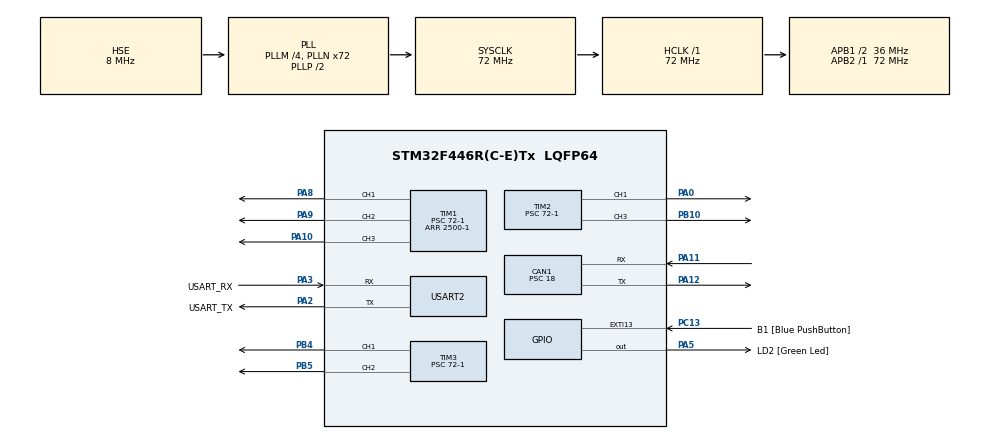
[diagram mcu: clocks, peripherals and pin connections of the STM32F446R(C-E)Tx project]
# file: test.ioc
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CAN1.BS1=CAN_BS1_2TQ
CAN1.CalculateBaudRate=500000
CAN1.CalculateTimeBit=2000
CAN1.CalculateTimeQuantum=500.0
CAN1.Prescaler=18
Mcu.Family=STM32F4
Mcu.Name=STM32F446R(C-E)Tx
Mcu.Package=LQFP64
NVIC.CAN1_RX0_IRQn=true\:0\:0\:false\:false\:true\:true\:true\:true
NVIC.PriorityGroup=NVIC_PRIORITYGROUP_0
PA0-WKUP.Signal=S_TIM2_CH1_ETR
PA10.Signal=S_TIM1_CH3
PA11.Mode=CAN_Activate
PA11.Signal=CAN1_RX
PA12.Mode=CAN_Activate
PA12.Signal=CAN1_TX
PA13.GPIO_Label=TMS
PA13.Mode=Serial_Wire
PA13.Signal=SYS_JTMS-SWDIO
PA14.GPIO_Label=TCK
PA14.Mode=Serial_Wire
PA14.Signal=SYS_JTCK-SWCLK
PA2.GPIO_Label=USART_TX
PA2.Mode=Asynchronous
PA2.Signal=USART2_TX
PA3.GPIO_Label=USART_RX
PA3.Mode=Asynchronous
PA3.Signal=USART2_RX
PA5.GPIO_Label=LD2 [Green Led]
PA5.Signal=GPIO_Output
PA8.Signal=S_TIM1_CH1
PA9.Signal=S_TIM1_CH2
PB10.Signal=S_TIM2_CH3
PB3.GPIO_Label=SWO
PB3.Signal=SYS_JTDO-SWO
PB4.Signal=S_TIM3_CH1
PB5.Signal=S_TIM3_CH2
PC13.GPIO_Label=B1 [Blue PushButton]
PC13.GPIO_ModeDefaultEXTI=GPIO_MODE_IT_FALLING
PC13.Signal=GPXTI13
PC14-OSC32_IN.Mode=LSE-External-Oscillator
PC14-OSC32_IN.Signal=RCC_OSC32_IN
PC15-OSC32_OUT.Mode=LSE-External-Oscillator
PC15-OSC32_OUT.Signal=RCC_OSC32_OUT
PH0-OSC_IN.Mode=HSE-External-Oscillator
PH0-OSC_IN.Signal=RCC_OSC_IN
PH1-OSC_OUT.Mode=HSE-External-Oscillator
PH1-OSC_OUT.Signal=RCC_OSC_OUT
ProjectManager.HeapSize=0x200
ProjectManager.StackSize=0x400
ProjectManager.TargetToolchain=STM32CubeIDE
RCC.48MHZClocksFreq_Value=84000000
RCC.AHBFreq_Value=72000000
RCC.APB1CLKDivider=RCC_HCLK_DIV2
RCC.APB1Freq_Value=36000000
RCC.APB1TimFreq_Value=72000000
RCC.APB2Freq_Value=72000000
RCC.APB2TimFreq_Value=72000000
RCC.CortexFreq_Value=72000000
RCC.FLatency-AdvancedSettings=FLASH_LATENCY_2
RCC.HCLKFreq_Value=72000000
RCC.HSE_VALUE=8000000
RCC.HSI_VALUE=16000000
RCC.PLLM=4
RCC.PLLN=72
RCC.PLLSourceVirtual=RCC_PLLSOURCE_HSE
RCC.SYSCLKFreq_VALUE=72000000
RCC.SYSCLKSource=RCC_SYSCLKSOURCE_PLLCLK
RCC.USBFreq_Value=72000000
RCC.VCOOutputFreq_Value=144000000
SH.S_TIM1_CH1.0=TIM1_CH1,PWM Generation1 CH1
SH.S_TIM1_CH2.0=TIM1_CH2,PWM Generation2 CH2
SH.S_TIM1_CH3.0=TIM1_CH3,PWM Generation3 CH3
SH.S_TIM2_CH1_ETR.0=TIM2_CH1,PWM Generation1 CH1
SH.S_TIM2_CH3.0=TIM2_CH3,PWM Generation3 CH3
SH.S_TIM3_CH1.0=TIM3_CH1,PWM Generation1 CH1
SH.S_TIM3_CH2.0=TIM3_CH2,PWM Generation2 CH2
TIM1.Channel-PWM\ Generation1\ CH1=TIM_CHANNEL_1
TIM1.Channel-PWM\ Generation2\ CH2=TIM_CHANNEL_2
TIM1.Channel-PWM\ Generation3\ CH3=TIM_CHANNEL_3
TIM1.Period=2500-1
TIM1.Prescaler=72-1
TIM2.Channel-PWM\ Generation1\ CH1=TIM_CHANNEL_1
TIM2.Channel-PWM\ Generation3\ CH3=TIM_CHANNEL_3
TIM2.Period=2500-1
TIM2.Prescaler=72-1
TIM3.Channel-PWM\ Generation1\ CH1=TIM_CHANNEL_1
TIM3.Channel-PWM\ Generation2\ CH2=TIM_CHANNEL_2
TIM3.Period=2500-1
TIM3.Prescaler=72-1
USART2.VirtualMode=VM_ASYNC
VP_TIM1_VS_ClockSourceINT.Mode=Internal
VP_TIM2_VS_ClockSourceINT.Mode=Internal
VP_TIM3_VS_ClockSourceINT.Mode=Internal
board=NUCLEO-F446RE

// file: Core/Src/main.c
/* USER CODE BEGIN Header */
/**
  ******************************************************************************
  * @file           : main.c
  * @brief          : Main program body
  ******************************************************************************
  * @attention
  *
  * Copyright (c) 2024 STMicroelectronics.
  * All rights reserved.
  *
  * This software is licensed under terms that can be found in the LICENSE file
  * in the root directory of this software component.
  * If no LICENSE file comes with this software, it is provided AS-IS.
  *
  ******************************************************************************
  */
/* USER CODE END Header */
#include "main.h"

/* USER CODE BEGIN Includes */
int exponent(int i){
	int d = 1;
	for(int j = 3; j >= (i-5) * 2; j--){
		d *= 16;
	}
	return d;
}
int CAN_MESSAGE_CONVERSION(uint8_t RxData[8]){
	 int d;
	 int x = 0;
	 for(int i = 7; i >= 5; i--){
		 d = exponent(i);
		 x += RxData[i] * d;
	  }
	 return x;
}
/* USER CODE END Includes */

CAN_HandleTypeDef hcan1;

TIM_HandleTypeDef htim1;
TIM_HandleTypeDef htim2;
TIM_HandleTypeDef htim3;

UART_HandleTypeDef huart2;

void SystemClock_Config(void);
static void MX_GPIO_Init(void);
static void MX_USART2_UART_Init(void);
static void MX_TIM1_Init(void);
static void MX_CAN1_Init(void);
static void MX_TIM2_Init(void);
static void MX_TIM3_Init(void);

/* USER CODE BEGIN 0 */
CAN_TxHeaderTypeDef TxHeader;
CAN_RxHeaderTypeDef RxHeader;
uint8_t TxData[8];
uint8_t RxData[8];
uint32_t TxMailbox;

int datacheck = 0;

void HAL_GPIO_EXTI_Callback(uint16_t GPIO_Pin)
{
	if (GPIO_Pin == GPIO_PIN_13){
		TxData[0] = 100;
		TxData[1] = 10;

		HAL_CAN_AddTxMessage(&hcan1, &TxHeader, TxData, &TxMailbox);
	}
}

void HAL_CAN_RxFifo0MsgPendingCallback(CAN_HandleTypeDef *hcan)
{
	HAL_CAN_GetRxMessage(hcan, CAN_RX_FIFO0, &RxHeader, RxData);
//	if(RxHeader.ExtId == 23){
//		datacheck = 1;
//	}
	datacheck = 1;
}
/* USER CODE END 0 */

int main(void)
{

  /* USER CODE BEGIN 1 */
	  MX_GPIO_Init();
	  MX_USART2_UART_Init();
	  MX_CAN1_Init();
	  MX_TIM2_Init();
	  MX_TIM1_Init();
	  MX_TIM3_Init();
	  /* USER CODE BEGIN 2 */
	//  uint32_t pwmData[9];
	//  pwmData[0] = 10;
	//  pwmData[1] = 20;
	//  pwmData[2] = 30;
	//  pwmData[3] = 40;
	//  pwmData[4] = 50;
	//  pwmData[5] = 60;
	//  pwmData[6] = 70;
	//  pwmData[7] = 80;
	//  pwmData[8] = 90;
	//  pwmData[9] = 100;
	//
	//  HAL_TIM_PWM_Start_DMA(&htim1, TIM_CHANNEL_1, pwmData, 10);

	  // can messages
	  HAL_CAN_Start(&hcan1);

	  HAL_CAN_ActivateNotification(&hcan1, CAN_IT_RX_FIFO0_MSG_PENDING);

	  TxHeader.DLC = 8;
	  TxHeader.IDE = CAN_ID_EXT;
	  TxHeader.RTR = CAN_RTR_DATA;
	  TxHeader.ExtId = 17;

	  TIM3->ARR = 2000;
	  TIM1->CCR1 = 0;
	  TIM1->CCR2 = 0;
	  TIM2->CCR1 = 0;
	  TIM2->CCR3 = 0;
	  TIM3->CCR1 = 1500;
	  TIM3->CCR2 = 0;
	  HAL_TIM_PWM_Start(&htim1, TIM_CHANNEL_1);
	  HAL_TIM_PWM_Start(&htim1, TIM_CHANNEL_2);
	  HAL_TIM_PWM_Start(&htim2, TIM_CHANNEL_1);
	  HAL_TIM_PWM_Start(&htim2, TIM_CHANNEL_3);
	  HAL_TIM_PWM_Start(&htim3, TIM_CHANNEL_1);
	  HAL_TIM_PWM_Start(&htim3, TIM_CHANNEL_2);
  /* USER CODE END 1 */

  /* MCU Configuration--------------------------------------------------------*/

  /* Reset of all peripherals, Initializes the Flash interface and the Systick. */
  HAL_Init();

  /* Configure the system clock */
  SystemClock_Config();

  /* Initialize all configured peripherals */
  MX_GPIO_Init();
  MX_USART2_UART_Init();
  MX_TIM1_Init();
  MX_CAN1_Init();
  MX_TIM2_Init();
  MX_TIM3_Init();
  /* USER CODE BEGIN 2 */
	//  uint32_t pwmData[9];
	//  pwmData[0] = 10;
	//  pwmData[1] = 20;
	//  pwmData[2] = 30;
	//  pwmData[3] = 40;
	//  pwmData[4] = 50;
	//  pwmData[5] = 60;
	//  pwmData[6] = 70;
	//  pwmData[7] = 80;
	//  pwmData[8] = 90;
	//  pwmData[9] = 100;
	//
	//  HAL_TIM_PWM_Start_DMA(&htim1, TIM_CHANNEL_1, pwmData, 10);

	  // can messages
	  HAL_CAN_Start(&hcan1);

	  HAL_CAN_ActivateNotification(&hcan1, CAN_IT_RX_FIFO0_MSG_PENDING);

	  TxHeader.DLC = 8;
	  TxHeader.IDE = CAN_ID_EXT;
	  TxHeader.RTR = CAN_RTR_DATA;
	  TxHeader.ExtId = 17;

	  TIM3->ARR = 2000;
	  TIM1->CCR1 = 0;
	  TIM1->CCR2 = 0;
	  TIM2->CCR1 = 0;
	  TIM2->CCR3 = 0;
	  TIM3->CCR1 = 1500;
	  TIM3->CCR2 = 0;
	  HAL_TIM_PWM_Start(&htim1, TIM_CHANNEL_1);
	  HAL_TIM_PWM_Start(&htim1, TIM_CHANNEL_2);
	  HAL_TIM_PWM_Start(&htim2, TIM_CHANNEL_1);
	  HAL_TIM_PWM_Start(&htim2, TIM_CHANNEL_3);
	  HAL_TIM_PWM_Start(&htim3, TIM_CHANNEL_1);
	  HAL_TIM_PWM_Start(&htim3, TIM_CHANNEL_2);
  /* USER CODE END 1 */

  /* MCU Configuration--------------------------------------------------------*/

  /* Reset of all peripherals, Initializes the Flash interface and the Systick. */
  HAL_Init();

  /* USER CODE BEGIN Init */

  /* USER CODE END Init */

  /* Configure the system clock */
  SystemClock_Config();

  /* USER CODE BEGIN SysInit */

  /* USER CODE END SysInit */

  /* Initialize all configured peripherals */
  MX_GPIO_Init();
  MX_USART2_UART_Init();
  MX_TIM1_Init();
  MX_CAN1_Init();
  MX_TIM2_Init();
  MX_TIM3_Init();
  /* USER CODE BEGIN 2 */
	//  uint32_t pwmData[9];
	//  pwmData[0] = 10;
	//  pwmData[1] = 20;
	//  pwmData[2] = 30;
	//  pwmData[3] = 40;
	//  pwmData[4] = 50;
	//  pwmData[5] = 60;
	//  pwmData[6] = 70;
	//  pwmData[7] = 80;
	//  pwmData[8] = 90;
	//  pwmData[9] = 100;
	//
	//  HAL_TIM_PWM_Start_DMA(&htim1, TIM_CHANNEL_1, pwmData, 10);

	  // can messages
	  HAL_CAN_Start(&hcan1);

	  HAL_CAN_ActivateNotification(&hcan1, CAN_IT_RX_FIFO0_MSG_PENDING);

	  TxHeader.DLC = 8;
	  TxHeader.IDE = CAN_ID_EXT;
	  TxHeader.RTR = CAN_RTR_DATA;
	  TxHeader.ExtId = 17;

	  TIM3->ARR = 2000;
	  TIM1->CCR1 = 0;
	  TIM1->CCR2 = 0;
	  TIM2->CCR1 = 0;
	  TIM2->CCR3 = 0;
	  TIM3->CCR1 = 1500;
	  TIM3->CCR2 = 0;
	  HAL_TIM_PWM_Start(&htim1, TIM_CHANNEL_1);
	  HAL_TIM_PWM_Start(&htim1, TIM_CHANNEL_2);
	  HAL_TIM_PWM_Start(&htim2, TIM_CHANNEL_1);
	  HAL_TIM_PWM_Start(&htim2, TIM_CHANNEL_3);
	  HAL_TIM_PWM_Start(&htim3, TIM_CHANNEL_1);
	  HAL_TIM_PWM_Start(&htim3, TIM_CHANNEL_2);
  /* USER CODE END 1 */

  /* MCU Configuration--------------------------------------------------------*/

  /* Reset of all peripherals, Initializes the Flash interface and the Systick. */
  HAL_Init();

  /* USER CODE BEGIN Init */

  /* USER CODE END Init */

  /* Configure the system clock */
  SystemClock_Config();

  /* USER CODE BEGIN SysInit */

  /* USER CODE END SysInit */

  /* Initialize all configured peripherals */
  MX_GPIO_Init();
  MX_USART2_UART_Init();
  MX_TIM1_Init();
  MX_CAN1_Init();
  /* USER CODE BEGIN 2 */
  TIM1->ARR = 1000;
  TIM1->CCR1 = 600;
  TIM1->CCR2 = 1000;
  HAL_TIM_PWM_Start(&htim1, TIM_CHANNEL_1);
  HAL_TIM_PWM_Start(&htim1, TIM_CHANNEL_2);
  HAL_TIM_PWM_Start(&htim1, TIM_CHANNEL_3);
  HAL_TIM_PWM_Start(&htim2, TIM_CHANNEL_1);
  HAL_TIM_PWM_Start(&htim2, TIM_CHANNEL_3);
  HAL_TIM_PWM_Start(&htim3, TIM_CHANNEL_1);
  HAL_TIM_PWM_Start(&htim3, TIM_CHANNEL_2);
  /* USER CODE END 2 */

  /* Infinite loop */
  while (1)
  {

    /* USER CODE BEGIN 3 */
	  int x = 0;
	  if (datacheck){
		  if(RxHeader.ExtId == 115 || RxHeader.ExtId == 116)
		  {
			  for(int i = 0; i < 8; i++){
				  TxData[i] = RxData[i];
			  }
			  HAL_CAN_AddTxMessage(&hcan1, &TxHeader, TxData, &TxMailbox);

			  x = CAN_MESSAGE_CONVERSION(RxData);

			  if(x == 1000)
			  {
				  __HAL_TIM_SET_COMPARE(&htim1, TIM_CHANNEL_1, 1000);
			  }
			  else{
				  __HAL_TIM_SET_COMPARE(&htim1, TIM_CHANNEL_1, 0);
			  }

			  TIM3->ARR = 2000;
			  TIM1->ARR = 1000;
			  __HAL_TIM_SET_COMPARE(&htim3, TIM_CHANNEL_2, x);
			  __HAL_TIM_SET_COMPARE(&htim3, TIM_CHANNEL_1, x);
 //			  TIM3->CCR2 = x;
 //			  TIM3->CCR1 = x;
			  datacheck = 0;
		  }
		  else if(RxHeader.ExtId == 117 || RxHeader.ExtId == 118)
		  {
			  for(int i = 0; i < 8; i++){
				  TxData[i] = RxData[i];
			  }
			  HAL_CAN_AddTxMessage(&hcan1, &TxHeader, TxData, &TxMailbox);

			  x = CAN_MESSAGE_CONVERSION(RxData);

			  TIM2->ARR = 32000;
			  TIM1->ARR = 1000;
			  if(x == 1000)
			  {
				  __HAL_TIM_SET_COMPARE(&htim1, TIM_CHANNEL_1, 1000);
			  }
			  else{
				  __HAL_TIM_SET_COMPARE(&htim1, TIM_CHANNEL_1, 0);
			  }

			  __HAL_TIM_SET_COMPARE(&htim2, TIM_CHANNEL_1, x);
			  __HAL_TIM_SET_COMPARE(&htim2, TIM_CHANNEL_3, x);
 //			  TIM2->CCR1 = x;
 //			  TIM2->CCR3 = x;
			  datacheck = 0;
		  }
		  else if(RxHeader.ExtId == 120)
		  {
			 for(int i = 0; i < 8; i++){
				 TxData[i] = RxData[i];
			 }
			 HAL_CAN_AddTxMessage(&hcan1, &TxHeader, TxData, &TxMailbox);
			 TIM1->ARR = 2000;
			 x = CAN_MESSAGE_CONVERSION(RxData);
			 __HAL_TIM_SET_COMPARE(&htim1, TIM_CHANNEL_1, x);
			 datacheck = 0;
		  }
	  }

   }

  /* USER CODE END 3 */
}

void SystemClock_Config(void)
{
  RCC_OscInitTypeDef RCC_OscInitStruct = {0};
  RCC_ClkInitTypeDef RCC_ClkInitStruct = {0};

  /** Configure the main internal regulator output voltage
  */
  __HAL_RCC_PWR_CLK_ENABLE();
  __HAL_PWR_VOLTAGESCALING_CONFIG(PWR_REGULATOR_VOLTAGE_SCALE3);

  /** Initializes the RCC Oscillators according to the specified parameters
  * in the RCC_OscInitTypeDef structure.
  */
  RCC_OscInitStruct.OscillatorType = RCC_OSCILLATORTYPE_HSE;
  RCC_OscInitStruct.HSEState = RCC_HSE_ON;
  RCC_OscInitStruct.PLL.PLLState = RCC_PLL_ON;
  RCC_OscInitStruct.PLL.PLLSource = RCC_PLLSOURCE_HSE;
  RCC_OscInitStruct.PLL.PLLM = 4;
  RCC_OscInitStruct.PLL.PLLN = 72;
  RCC_OscInitStruct.PLL.PLLP = RCC_PLLP_DIV2;
  RCC_OscInitStruct.PLL.PLLQ = 2;
  RCC_OscInitStruct.PLL.PLLR = 2;
  if (HAL_RCC_OscConfig(&RCC_OscInitStruct) != HAL_OK)
  {
    Error_Handler();
  }

  /** Initializes the CPU, AHB and APB buses clocks
  */
  RCC_ClkInitStruct.ClockType = RCC_CLOCKTYPE_HCLK|RCC_CLOCKTYPE_SYSCLK
                              |RCC_CLOCKTYPE_PCLK1|RCC_CLOCKTYPE_PCLK2;
  RCC_ClkInitStruct.SYSCLKSource = RCC_SYSCLKSOURCE_PLLCLK;
  RCC_ClkInitStruct.AHBCLKDivider = RCC_SYSCLK_DIV1;
  RCC_ClkInitStruct.APB1CLKDivider = RCC_HCLK_DIV2;
  RCC_ClkInitStruct.APB2CLKDivider = RCC_HCLK_DIV1;

  if (HAL_RCC_ClockConfig(&RCC_ClkInitStruct, FLASH_LATENCY_2) != HAL_OK)
  {
    Error_Handler();
  }
}

static void MX_CAN1_Init(void)
{

  hcan1.Instance = CAN1;
  hcan1.Init.Prescaler = 18;
  hcan1.Init.Mode = CAN_MODE_NORMAL;
  hcan1.Init.SyncJumpWidth = CAN_SJW_1TQ;
  hcan1.Init.TimeSeg1 = CAN_BS1_2TQ;
  hcan1.Init.TimeSeg2 = CAN_BS2_1TQ;
  hcan1.Init.TimeTriggeredMode = DISABLE;
  hcan1.Init.AutoBusOff = DISABLE;
  hcan1.Init.AutoWakeUp = DISABLE;
  hcan1.Init.AutoRetransmission = DISABLE;
  hcan1.Init.ReceiveFifoLocked = DISABLE;
  hcan1.Init.TransmitFifoPriority = DISABLE;
  if (HAL_CAN_Init(&hcan1) != HAL_OK)
  {
    Error_Handler();
  }
  /* USER CODE BEGIN CAN1_Init 2 */
  CAN_FilterTypeDef canfilterconfig;

	canfilterconfig.FilterActivation = CAN_FILTER_ENABLE;
	canfilterconfig.FilterBank = 0;
	canfilterconfig.FilterFIFOAssignment = CAN_FILTER_FIFO0;
	canfilterconfig.FilterIdHigh = 0;
	canfilterconfig.FilterIdLow = 0;
	canfilterconfig.FilterMaskIdHigh = 0;
	canfilterconfig.FilterMaskIdLow = 0;
	canfilterconfig.FilterMode = CAN_FILTERMODE_IDMASK;
	canfilterconfig.FilterScale = CAN_FILTERSCALE_32BIT;
	canfilterconfig.SlaveStartFilterBank = 40;

	HAL_CAN_ConfigFilter(&hcan1, &canfilterconfig);
  /* USER CODE END CAN1_Init 2 */

}

static void MX_TIM1_Init(void)
{

  TIM_ClockConfigTypeDef sClockSourceConfig = {0};
  TIM_MasterConfigTypeDef sMasterConfig = {0};
  TIM_OC_InitTypeDef sConfigOC = {0};
  TIM_BreakDeadTimeConfigTypeDef sBreakDeadTimeConfig = {0};

  htim1.Instance = TIM1;
  htim1.Init.Prescaler = 72-1;
  htim1.Init.CounterMode = TIM_COUNTERMODE_UP;
  htim1.Init.Period = 2500-1;
  htim1.Init.ClockDivision = TIM_CLOCKDIVISION_DIV1;
  htim1.Init.RepetitionCounter = 0;
  htim1.Init.AutoReloadPreload = TIM_AUTORELOAD_PRELOAD_DISABLE;
  if (HAL_TIM_Base_Init(&htim1) != HAL_OK)
  {
    Error_Handler();
  }
  sClockSourceConfig.ClockSource = TIM_CLOCKSOURCE_INTERNAL;
  if (HAL_TIM_ConfigClockSource(&htim1, &sClockSourceConfig) != HAL_OK)
  {
    Error_Handler();
  }
  if (HAL_TIM_PWM_Init(&htim1) != HAL_OK)
  {
    Error_Handler();
  }
  sMasterConfig.MasterOutputTrigger = TIM_TRGO_RESET;
  sMasterConfig.MasterSlaveMode = TIM_MASTERSLAVEMODE_DISABLE;
  if (HAL_TIMEx_MasterConfigSynchronization(&htim1, &sMasterConfig) != HAL_OK)
  {
    Error_Handler();
  }
  sConfigOC.OCMode = TIM_OCMODE_PWM1;
  sConfigOC.Pulse = 0;
  sConfigOC.OCPolarity = TIM_OCPOLARITY_HIGH;
  sConfigOC.OCNPolarity = TIM_OCNPOLARITY_HIGH;
  sConfigOC.OCFastMode = TIM_OCFAST_DISABLE;
  sConfigOC.OCIdleState = TIM_OCIDLESTATE_RESET;
  sConfigOC.OCNIdleState = TIM_OCNIDLESTATE_RESET;
  if (HAL_TIM_PWM_ConfigChannel(&htim1, &sConfigOC, TIM_CHANNEL_1) != HAL_OK)
  {
    Error_Handler();
  }
  if (HAL_TIM_PWM_ConfigChannel(&htim1, &sConfigOC, TIM_CHANNEL_2) != HAL_OK)
  {
    Error_Handler();
  }
  if (HAL_TIM_PWM_ConfigChannel(&htim1, &sConfigOC, TIM_CHANNEL_3) != HAL_OK)
  {
    Error_Handler();
  }
  sBreakDeadTimeConfig.OffStateRunMode = TIM_OSSR_DISABLE;
  sBreakDeadTimeConfig.OffStateIDLEMode = TIM_OSSI_DISABLE;
  sBreakDeadTimeConfig.LockLevel = TIM_LOCKLEVEL_OFF;
  sBreakDeadTimeConfig.DeadTime = 0;
  sBreakDeadTimeConfig.BreakState = TIM_BREAK_DISABLE;
  sBreakDeadTimeConfig.BreakPolarity = TIM_BREAKPOLARITY_HIGH;
  sBreakDeadTimeConfig.AutomaticOutput = TIM_AUTOMATICOUTPUT_DISABLE;
  if (HAL_TIMEx_ConfigBreakDeadTime(&htim1, &sBreakDeadTimeConfig) != HAL_OK)
  {
    Error_Handler();
  }
  HAL_TIM_MspPostInit(&htim1);

}

static void MX_TIM2_Init(void)
{

  TIM_ClockConfigTypeDef sClockSourceConfig = {0};
  TIM_MasterConfigTypeDef sMasterConfig = {0};
  TIM_OC_InitTypeDef sConfigOC = {0};

  htim2.Instance = TIM2;
  htim2.Init.Prescaler = 72-1;
  htim2.Init.CounterMode = TIM_COUNTERMODE_UP;
  htim2.Init.Period = 2500-1;
  htim2.Init.ClockDivision = TIM_CLOCKDIVISION_DIV1;
  htim2.Init.AutoReloadPreload = TIM_AUTORELOAD_PRELOAD_DISABLE;
  if (HAL_TIM_Base_Init(&htim2) != HAL_OK)
  {
    Error_Handler();
  }
  sClockSourceConfig.ClockSource = TIM_CLOCKSOURCE_INTERNAL;
  if (HAL_TIM_ConfigClockSource(&htim2, &sClockSourceConfig) != HAL_OK)
  {
    Error_Handler();
  }
  if (HAL_TIM_PWM_Init(&htim2) != HAL_OK)
  {
    Error_Handler();
  }
  sMasterConfig.MasterOutputTrigger = TIM_TRGO_RESET;
  sMasterConfig.MasterSlaveMode = TIM_MASTERSLAVEMODE_DISABLE;
  if (HAL_TIMEx_MasterConfigSynchronization(&htim2, &sMasterConfig) != HAL_OK)
  {
    Error_Handler();
  }
  sConfigOC.OCMode = TIM_OCMODE_PWM1;
  sConfigOC.Pulse = 0;
  sConfigOC.OCPolarity = TIM_OCPOLARITY_HIGH;
  sConfigOC.OCFastMode = TIM_OCFAST_DISABLE;
  if (HAL_TIM_PWM_ConfigChannel(&htim2, &sConfigOC, TIM_CHANNEL_1) != HAL_OK)
  {
    Error_Handler();
  }
  if (HAL_TIM_PWM_ConfigChannel(&htim2, &sConfigOC, TIM_CHANNEL_3) != HAL_OK)
  {
    Error_Handler();
  }
  HAL_TIM_MspPostInit(&htim2);

}

static void MX_TIM3_Init(void)
{

  TIM_ClockConfigTypeDef sClockSourceConfig = {0};
  TIM_MasterConfigTypeDef sMasterConfig = {0};
  TIM_OC_InitTypeDef sConfigOC = {0};

  htim3.Instance = TIM3;
  htim3.Init.Prescaler = 72-1;
  htim3.Init.CounterMode = TIM_COUNTERMODE_UP;
  htim3.Init.Period = 2500-1;
  htim3.Init.ClockDivision = TIM_CLOCKDIVISION_DIV1;
  htim3.Init.AutoReloadPreload = TIM_AUTORELOAD_PRELOAD_DISABLE;
  if (HAL_TIM_Base_Init(&htim3) != HAL_OK)
  {
    Error_Handler();
  }
  sClockSourceConfig.ClockSource = TIM_CLOCKSOURCE_INTERNAL;
  if (HAL_TIM_ConfigClockSource(&htim3, &sClockSourceConfig) != HAL_OK)
  {
    Error_Handler();
  }
  if (HAL_TIM_PWM_Init(&htim3) != HAL_OK)
  {
    Error_Handler();
  }
  sMasterConfig.MasterOutputTrigger = TIM_TRGO_RESET;
  sMasterConfig.MasterSlaveMode = TIM_MASTERSLAVEMODE_DISABLE;
  if (HAL_TIMEx_MasterConfigSynchronization(&htim3, &sMasterConfig) != HAL_OK)
  {
    Error_Handler();
  }
  sConfigOC.OCMode = TIM_OCMODE_PWM1;
  sConfigOC.Pulse = 0;
  sConfigOC.OCPolarity = TIM_OCPOLARITY_HIGH;
  sConfigOC.OCFastMode = TIM_OCFAST_DISABLE;
  if (HAL_TIM_PWM_ConfigChannel(&htim3, &sConfigOC, TIM_CHANNEL_1) != HAL_OK)
  {
    Error_Handler();
  }
  if (HAL_TIM_PWM_ConfigChannel(&htim3, &sConfigOC, TIM_CHANNEL_2) != HAL_OK)
  {
    Error_Handler();
  }
  HAL_TIM_MspPostInit(&htim3);

}

static void MX_USART2_UART_Init(void)
{

  huart2.Instance = USART2;
  huart2.Init.BaudRate = 115200;
  huart2.Init.WordLength = UART_WORDLENGTH_8B;
  huart2.Init.StopBits = UART_STOPBITS_1;
  huart2.Init.Parity = UART_PARITY_NONE;
  huart2.Init.Mode = UART_MODE_TX_RX;
  huart2.Init.HwFlowCtl = UART_HWCONTROL_NONE;
  huart2.Init.OverSampling = UART_OVERSAMPLING_16;
  if (HAL_UART_Init(&huart2) != HAL_OK)
  {
    Error_Handler();
  }

}

static void MX_GPIO_Init(void)
{
  GPIO_InitTypeDef GPIO_InitStruct = {0};

  /* GPIO Ports Clock Enable */
  __HAL_RCC_GPIOC_CLK_ENABLE();
  __HAL_RCC_GPIOH_CLK_ENABLE();
  __HAL_RCC_GPIOA_CLK_ENABLE();
  __HAL_RCC_GPIOB_CLK_ENABLE();

  /*Configure GPIO pin Output Level */
  HAL_GPIO_WritePin(LD2_GPIO_Port, LD2_Pin, GPIO_PIN_RESET);

  /*Configure GPIO pin : B1_Pin */
  GPIO_InitStruct.Pin = B1_Pin;
  GPIO_InitStruct.Mode = GPIO_MODE_IT_FALLING;
  GPIO_InitStruct.Pull = GPIO_NOPULL;
  HAL_GPIO_Init(B1_GPIO_Port, &GPIO_InitStruct);

  /*Configure GPIO pin : LD2_Pin */
  GPIO_InitStruct.Pin = LD2_Pin;
  GPIO_InitStruct.Mode = GPIO_MODE_OUTPUT_PP;
  GPIO_InitStruct.Pull = GPIO_NOPULL;
  GPIO_InitStruct.Speed = GPIO_SPEED_FREQ_LOW;
  HAL_GPIO_Init(LD2_GPIO_Port, &GPIO_InitStruct);

}

void Error_Handler(void)
{
  __disable_irq();
  while (1)
  {
  }
}
